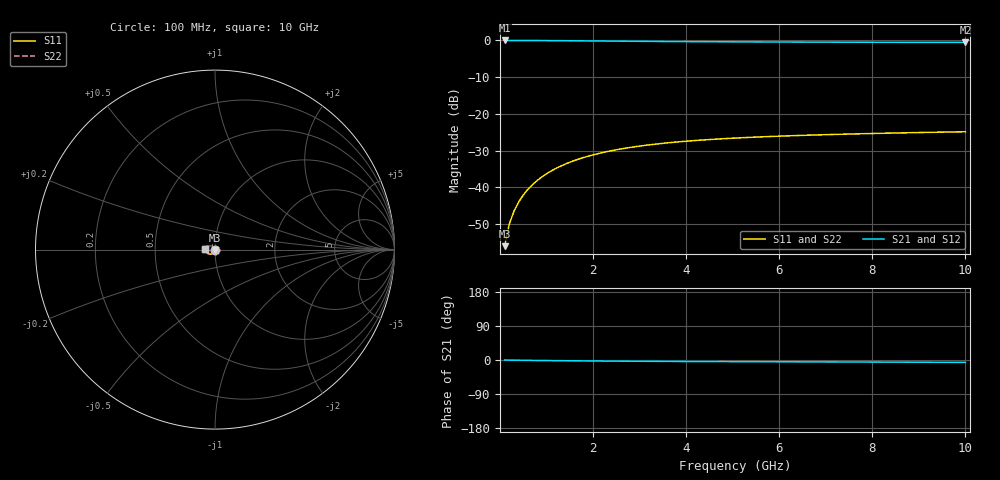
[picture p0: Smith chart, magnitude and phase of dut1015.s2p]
! Touchstone file exported from HFSS 2024.1.0
!  File:  C:/UserFiles/LocalFiles/RDL_TSV_Batchsim/temp_TSV1_1015_1780059276.aedt
!  Generated:  08:59:49 PM May 29, 2026
!  Design:  TSV1
!  Project:  temp_TSV1_1015_1780059276
!  Setup:  Setup1
!  Solution:  Sweep
! Variables:
!  dtsv = 10.74um
!  hbump = 3um
!  htsv = 98.43um
!  lrdl = 252.1521522um
!  p = 40
!  p1 = 52.46um
!  t = 500um
!  trdl = 3um
!  wrdl = 24.89489489um
# GHz S MA R 50.000000
! Terminal data exported
! Port[1] = TSV22_T1
! Port[2] = TSV22_T2
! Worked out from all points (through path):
!   100 points, 100 MHz to 10 GHz, reference 50 ohm
!   highest |S21| = 0.00 dB at 100 MHz (marker M1); lowest = -0.5 dB at 10 GHz (marker M2)
!   lowest |S11| = -56.0 dB at 100 MHz (marker M3), VSWR 1.00, Z = 50 - j0.158 ohm
!   |S11| at or under -10 dB: start of sweep to end of sweep
!   |S22| runs from -56.0 to -24.9 dB; largest |S21 - S12| = 3.1e-15
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0.1  0.001584 -86.6  0.9998 -0.2  0.9998 -0.2  0.001584 -86.6
! Gamma 0 0 0 0
! Port Impedance 50 0 50 0
0.2  0.003157 -90.9  0.9996 -0.3  0.9996 -0.3  0.003157 -90.9
0.3  0.00473 -93.6  0.9994 -0.5  0.9994 -0.5  0.00473 -93.6
0.4  0.006296 -95.8  0.999 -0.6  0.999 -0.6  0.006296 -95.8
0.5  0.00785 -97.9  0.9985 -0.8  0.9985 -0.8  0.00785 -97.9
0.6  0.009388 -99.8  0.998 -0.9  0.998 -0.9  0.009388 -99.8
0.7  0.01091 -101.8  0.9974 -1.1  0.9974 -1.1  0.01091 -101.8
0.8  0.0124 -103.6  0.9967 -1.2  0.9967 -1.2  0.0124 -103.6
0.9  0.01386 -105.5  0.9959 -1.3  0.9959 -1.3  0.01386 -105.5
1.1  0.0167 -109.1  0.9942 -1.6  0.9942 -1.6  0.0167 -109.1
1.4  0.0207 -114.2  0.9912 -2.0  0.9912 -2.0  0.0207 -114.2
1.6  0.02318 -117.4  0.9891 -2.2  0.9891 -2.2  0.02318 -117.4
1.8  0.02551 -120.5  0.9868 -2.4  0.9868 -2.4  0.02551 -120.5
2.1  0.02872 -124.9  0.9834 -2.7  0.9834 -2.7  0.02872 -124.9
2.5  0.03249 -130.3  0.9789 -3.0  0.9789 -3.0  0.03249 -130.3
2.9  0.03573 -135.2  0.9746 -3.3  0.9746 -3.3  0.03573 -135.2
3.4  0.03915 -140.7  0.9697 -3.6  0.9697 -3.6  0.03915 -140.7
4.2  0.04345 -148.4  0.9629 -4.0  0.9629 -4.0  0.04345 -148.4
5.1  0.04705 -155.6  0.9569 -4.3  0.9569 -4.3  0.04705 -155.6
6.7  0.05152 -165.9  0.9494 -5.0  0.9494 -5.0  0.05152 -165.9
8.4  0.0548 -174.6  0.9441 -5.6  0.9441 -5.6  0.0548 -174.6
10  0.05719 178.6  0.9408 -6.2  0.9408 -6.2  0.05719 178.6
